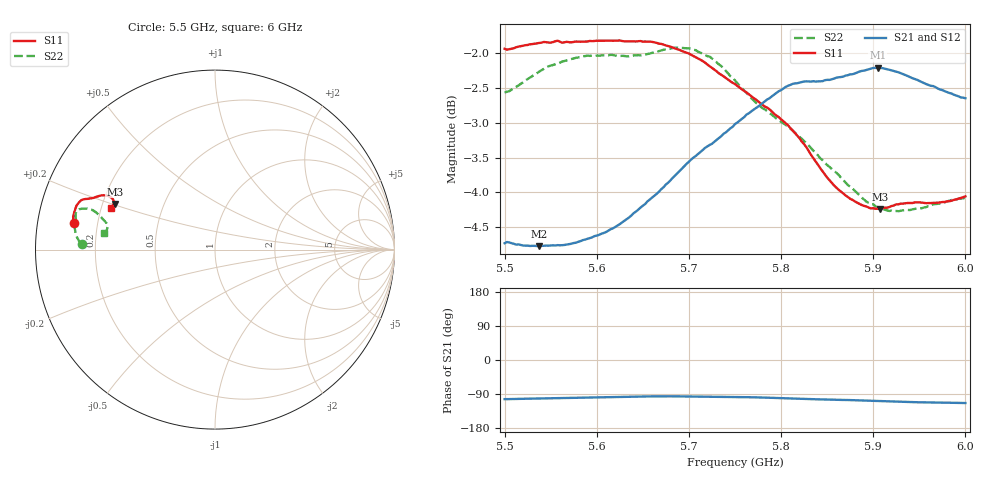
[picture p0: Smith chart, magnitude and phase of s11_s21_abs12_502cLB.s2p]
! MS46122B
! 1919307/90821646
! 7/29/2022 1:04:44 PM
! C:\USERS\PC_\DESKTOP\MEDICIONES\BANCHA ESTRECHA\55_6GHZ\S11_S21_ABS12_502CL.S2P
! CHANNEL.1
! TR.MEASUREMENT
! CORRECTED.DATA
# GHZ S RI R 50.0
! FREQ.GHZ  S11RE  S11IM  S21RE  S21IM  S12RE  S12IM  S22RE  S22IM
!; PortSelection: Port_12
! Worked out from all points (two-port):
!   201 points, 5.5 GHz to 6 GHz, reference 50 ohm
!   highest |S21| = -2.21 dB at 5.905 GHz (marker M1); lowest = -4.8 dB at 5.537 GHz (marker M2)
!   |S21| within 3 dB of the highest: start of sweep to end of sweep
!   lowest |S11| = -4.2 dB at 5.907 GHz (marker M3), VSWR 4.18, Z = 12.5 + j10.2 ohm
!   |S11| at or under -10 dB: nowhere
!   |S22| runs from -4.3 to -1.9 dB; largest |S21 - S12| = 0.014
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5.5  -0.7864 0.1489  -0.1332 -0.5646  -0.1286 -0.5649  -0.7437 0.0335
5.515  -0.788 0.1557  -0.127 -0.5649  -0.1196 -0.5616  -0.7521 0.0414
5.5375  -0.79 0.1707  -0.1146 -0.5658  -0.1068 -0.5635  -0.7678 0.0667
5.585  -0.7872 0.1907  -0.0933 -0.5756  -0.0824 -0.5769  -0.7815 0.1193
5.63  -0.7818 0.2129  -0.0731 -0.5976  -0.0634 -0.599  -0.7771 0.147
5.6675  -0.7672 0.2508  -0.0653 -0.6283  -0.0554 -0.6312  -0.7762 0.1821
5.7075  -0.7386 0.2778  -0.0737 -0.6663  -0.0674 -0.6709  -0.7688 0.2156
5.7225  -0.725 0.2814  -0.0788 -0.678  -0.075 -0.6826  -0.7575 0.2243
5.75  -0.6991 0.2849  -0.0948 -0.7002  -0.0905 -0.7023  -0.7241 0.2295
5.7725  -0.6772 0.2881  -0.109 -0.7171  -0.1018 -0.7197  -0.6968 0.2251
5.8  -0.6466 0.2986  -0.138 -0.7346  -0.1334 -0.7382  -0.6755 0.2164
5.8175  -0.6237 0.3027  -0.158 -0.7393  -0.1534 -0.7423  -0.6625 0.2067
5.835  -0.5968 0.2997  -0.1766 -0.7378  -0.1717 -0.7378  -0.6476 0.1945
5.8625  -0.5684 0.2801  -0.1995 -0.737  -0.194 -0.7359  -0.6265 0.1718
5.875  -0.5631 0.2698  -0.2089 -0.7382  -0.2014 -0.7373  -0.6164 0.1607
5.905  -0.5587 0.2551  -0.2446 -0.7362  -0.239 -0.7326  -0.5999 0.1385
5.9075  -0.5588 0.2543  -0.2452 -0.7358  -0.2434 -0.731  -0.5997 0.1363
5.9175  -0.5617 0.2526  -0.2558 -0.7295  -0.2531 -0.725  -0.5987 0.1262
5.935  -0.566 0.2525  -0.2691 -0.7175  -0.2666 -0.71  -0.6028 0.1108
5.9575  -0.5673 0.2496  -0.2807 -0.7008  -0.2725 -0.6919  -0.6089 0.0925
5.975  -0.5706 0.2451  -0.2864 -0.6904  -0.2768 -0.6839  -0.6141 0.0875
6  -0.582 0.2328  -0.2948 -0.676  -0.2828 -0.6743  -0.6185 0.0915
